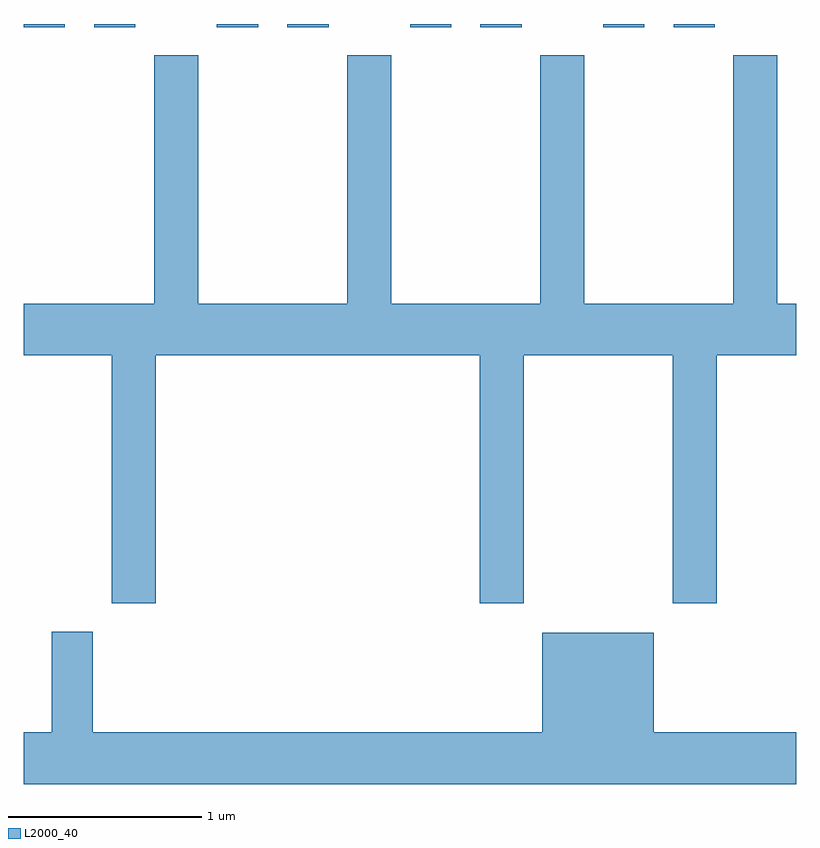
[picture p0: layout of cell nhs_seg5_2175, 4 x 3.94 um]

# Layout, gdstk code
import gdstk
lib = gdstk.Library(unit=1e-6, precision=1e-09)
def R(c, l, rs):  # rectangles x0, y0, x1, y1
    for r in rs: c.add(gdstk.rectangle(r[:2], r[2:], *l))
def P(c, l, *ps):  # polygons
    for p in ps: c.add(gdstk.Polygon(p, *l))
L2000_40 = (2000, 40)

nhs_seg5_2175 = lib.new_cell('nhs_seg5_2175')
R(nhs_seg5_2175, L2000_40, [(249.611,1454.056,249.824,1454.072), (249.976,1454.056,250.189,1454.072), (250.611,1454.056,250.824,1454.072), (250.976,1454.056,251.189,1454.072), (251.611,1454.056,251.824,1454.072), (251.976,1454.056,252.189,1454.072), (252.611,1454.056,252.824,1454.072), (252.976,1454.056,253.189,1454.072)])
P(nhs_seg5_2175, L2000_40, [(250.294,1452.356),(251.971,1452.356),(251.971,1451.071),(252.199,1451.071),(252.199,1452.356),(252.971,1452.356),(252.971,1451.071),(253.199,1451.071),(253.199,1452.356),(253.611,1452.356),(253.611,1452.624),(253.514,1452.624),(253.514,1453.909),(253.286,1453.909),(253.286,1452.624),(252.514,1452.624),(252.514,1453.909),(252.286,1453.909),(252.286,1452.624),(251.514,1452.624),(251.514,1453.909),(251.286,1453.909),(251.286,1452.624),(250.514,1452.624),(250.514,1453.909),(250.286,1453.909),(250.286,1452.624),(249.611,1452.624),(249.611,1452.356),(250.066,1452.356),(250.066,1451.071),(250.294,1451.071)],
  [(249.756,1450.924),(249.756,1450.404),(249.611,1450.404),(249.611,1450.136),(253.611,1450.136),(253.611,1450.404),(252.874,1450.404),(252.874,1450.919),(252.296,1450.919),(252.296,1450.404),(249.969,1450.404),(249.969,1450.924)])

lib.write_gds('nhs_seg5_2175.gds')
